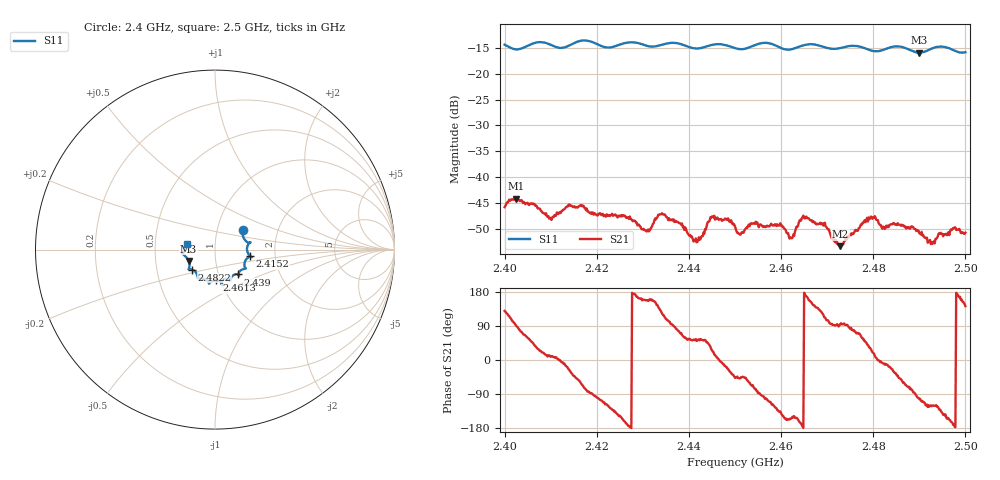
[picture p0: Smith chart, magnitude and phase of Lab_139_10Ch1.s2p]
# Hz S RI R 50
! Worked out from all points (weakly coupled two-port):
!   601 points, 2.4 GHz to 2.5 GHz, reference 50 ohm
!   highest |S21| = -44.18 dB at 2.4025 GHz (marker M1); lowest = -53.4 dB at 2.4728 GHz (marker M2)
!   lowest |S11| = -15.9 dB at 2.49 GHz (marker M3), VSWR 1.38, Z = 36.9 - j4.81 ohm
!   |S11| at or under -10 dB: start of sweep to end of sweep
!   S12 and S22 are empty: the file has one direction only
!   S11 on the Smith chart (normalised r, x): 2.4 GHz: 1.33, +0.31; 2.4152 GHz: 1.48, -0.11; 2.439 GHz: 1.24, -0.36; 2.4613 GHz: 0.96, -0.34; 2.4822 GHz: 0.76, -0.17; 2.5 GHz: 0.73, +0.05
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2.4e9  0.1555 0.1114  -0.00326 0.00396  0 0  0 0
2.4025e9  0.1574 0.0697  -7.04e-05 0.00618  0 0  0 0
2.409833e9  0.189 0.0342  0.00392 0.00075  0 0  0 0
2.415167e9  0.1953 -0.0363  0.00385 -0.00354  0 0  0 0
2.416667e9  0.205 -0.0421  0.0024 -0.00478  0 0  0 0
2.430833e9  0.1489 -0.1125  -0.00276 0.00112  0 0  0 0
2.433333e9  0.1316 -0.1322  -0.00332 0.00276  0 0  0 0
2.439e9  0.1281 -0.1383  0.00157 0.00265  0 0  0 0
2.4415e9  0.1039 -0.1417  0.00146 0.00209  0 0  0 0
2.445e9  0.0842 -0.1704  0.00376 0.00178  0 0  0 0
2.45e9  0.0689 -0.1632  0.00227 -0.00243  0 0  0 0
2.461333e9  0.0076 -0.1709  -0.00261 -0.00117  0 0  0 0
2.465e9  -0.0323 -0.1863  -0.00404 0.000184  0 0  0 0
2.466667e9  -0.0335 -0.1902  -0.00333 0.00188  0 0  0 0
2.472833e9  -0.0759 -0.1601  -0.000162 0.00214  0 0  0 0
2.479e9  -0.1008 -0.1381  0.00329 0.0024  0 0  0 0
2.482167e9  -0.1282 -0.1117  0.00328 -0.000504  0 0  0 0
2.483333e9  -0.1395 -0.1103  0.00313 -0.000981  0 0  0 0
2.49e9  -0.1469 -0.0635  -0.000655 -0.00279  0 0  0 0
2.492833e9  -0.1737 -0.0286  -0.00115 -0.00195  0 0  0 0
2.497333e9  -0.1697 -0.00756  -0.00317 -0.000499  0 0  0 0
2.5e9  -0.1581 0.0336  -0.00229 0.00178  0 0  0 0
